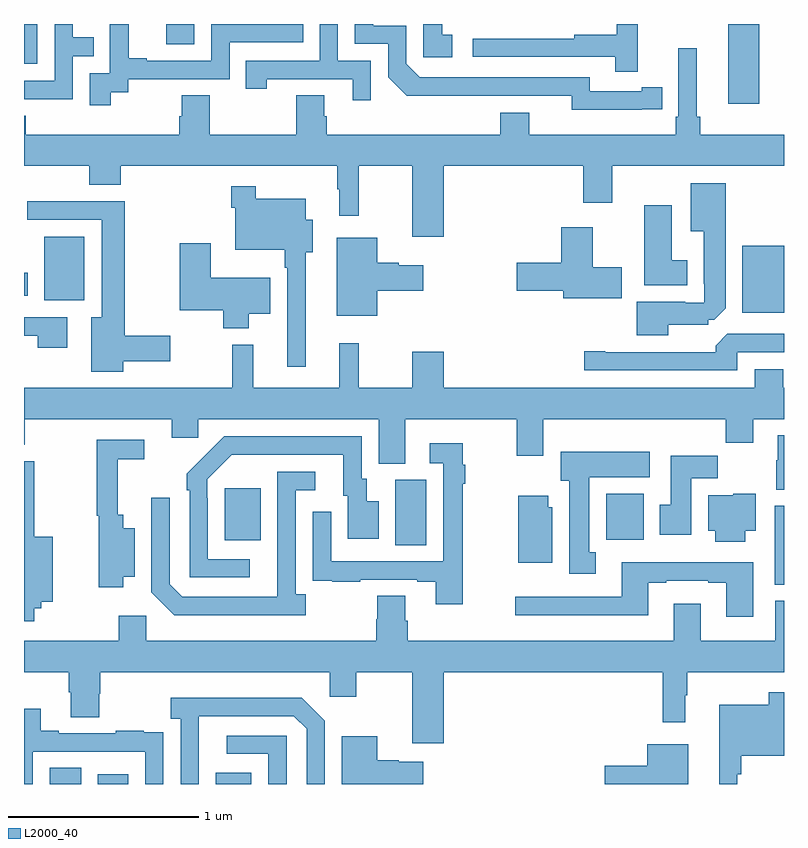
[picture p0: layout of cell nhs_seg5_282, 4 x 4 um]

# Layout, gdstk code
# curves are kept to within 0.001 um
import gdstk
lib = gdstk.Library(unit=1e-6, precision=1e-09)
def R(c, l, rs):  # rectangles x0, y0, x1, y1
    for r in rs: c.add(gdstk.rectangle(r[:2], r[2:], *l))
def P(c, l, *ps):  # polygons
    for p in ps: c.add(gdstk.Polygon(p, *l))
L2000_40 = (2000, 40)

nhs_seg5_282 = lib.new_cell('nhs_seg5_282')
R(nhs_seg5_282, L2000_40, [(127.136,894.799,127.3,894.884), (127.388,894.799,127.549,894.85), (128.009,894.799,128.197,894.859), (130.952,895.849,131,896.264), (128.954,896.056,129.118,896.4), (128.057,896.081,128.245,896.356), (130.064,896.084,130.261,896.326), (130.781,897.278,131,897.631), (127.106,897.344,127.318,897.679), (127,897.368,127.021,897.49), (130.706,898.38,130.87,898.799), (127,898.59,127.071,898.799), (127.749,898.692,127.896,898.799)])
P(nhs_seg5_282, L2000_40, [(128.826,898.605),(128.652,898.605),(128.652,898.799),(128.556,898.799),(128.556,898.605),(128.167,898.605),(128.167,898.458),(128.278,898.458),(128.278,898.509),(128.729,898.509),(128.729,898.398),(128.826,898.398)],
  [(127.456,898.441),(127.548,898.441),(127.548,898.509),(128.082,898.509),(128.082,898.704),(128.471,898.704),(128.471,898.799),(127.986,898.799),(127.986,898.605),(127.645,898.605),(127.645,898.618),(127.55,898.618),(127.55,898.799),(127.451,898.799),(127.451,898.769),(127.452,898.769),(127.452,898.539),(127.347,898.539),(127.347,898.371),(127.456,898.371)],
  [(130.229,898.799),(130.119,898.799),(130.119,898.742),(129.895,898.742),(129.895,898.722),(129.363,898.722),(129.363,898.626),(130.111,898.626),(130.111,898.548),(130.229,898.548)],
  [(130.25,898.35),(130.358,898.35),(130.358,898.466),(130.25,898.466),(130.25,898.446),(129.978,898.446),(129.978,898.518),(129.084,898.518),(129.012,898.59),(129.012,898.791),(128.839,898.791),(128.839,898.799),(128.742,898.799),(128.742,898.695),(128.916,898.695),(128.916,898.518),(129.014,898.421),(129.882,898.422),(129.882,898.349)],
  [(129.253,898.743),(129.2,898.743),(129.2,898.799),(129.102,898.799),(129.102,898.623),(129.253,898.623)],
  [(127.257,898.629),(127.367,898.629),(127.367,898.73),(127.257,898.73),(127.257,898.799),(127.161,898.799),(127.161,898.5),(127,898.5),(127,898.404),(127.257,898.404)],
  [(130.443,898.672),(130.443,898.312),(130.43,898.312),(130.43,898.216),(129.658,898.216),(129.658,898.333),(129.506,898.333),(129.506,898.216),(128.594,898.216),(128.594,898.314),(128.581,898.314),(128.581,898.424),(128.434,898.424),(128.434,898.216),(127.977,898.216),(127.977,898.424),(127.829,898.424),(127.829,898.314),(127.817,898.314),(127.817,898.216),(127.01,898.216),(127.01,898.315),(127,898.315),(127,898.052),(127.343,898.052),(127.343,897.953),(127.508,897.953),(127.508,898.052),(128.649,898.052),(128.649,897.929),(128.66,897.929),(128.66,897.789),(128.762,897.789),(128.762,898.052),(129.044,898.052),(129.044,897.678),(129.208,897.678),(129.208,898.052),(129.944,898.052),(129.944,897.858),(130.096,897.858),(130.096,898.052),(131,898.052),(131,898.216),(130.559,898.216),(130.559,898.312),(130.54,898.312),(130.54,898.672)],
  [(130.39,897.215),(130.602,897.215),(130.602,897.243),(130.633,897.243),(130.693,897.303),(130.693,897.961),(130.508,897.961),(130.508,897.707),(130.577,897.707),(130.577,897.433),(130.581,897.433),(130.581,897.333),(130.481,897.333),(130.481,897.337),(130.226,897.337),(130.226,897.161),(130.39,897.161)],
  [(128.482,897.599),(128.521,897.599),(128.521,897.769),(128.482,897.769),(128.482,897.88),(128.221,897.88),(128.221,897.946),(128.092,897.946),(128.092,897.833),(128.112,897.833),(128.112,897.611),(128.373,897.611),(128.373,897.515),(128.385,897.515),(128.385,896.994),(128.482,896.994)],
  [(127.522,897.023),(127.771,897.023),(127.771,897.158),(127.53,897.158),(127.53,897.866),(127.017,897.866),(127.017,897.768),(127.409,897.768),(127.409,897.256),(127.355,897.256),(127.355,896.97),(127.522,896.97)],
  [(130.492,897.556),(130.408,897.556),(130.408,897.844),(130.265,897.844),(130.265,897.425),(130.492,897.425)],
  [(130.147,897.519),(129.994,897.519),(129.994,897.73),(129.827,897.73),(129.827,897.542),(129.594,897.542),(129.594,897.395),(129.839,897.395),(129.839,897.356),(130.147,897.356)],
  [(128.86,897.395),(129.102,897.395),(129.102,897.529),(128.973,897.529),(128.973,897.542),(128.86,897.542),(128.86,897.673),(128.645,897.673),(128.645,897.263),(128.86,897.263)],
  [(128.182,897.275),(128.296,897.275),(128.296,897.463),(127.984,897.463),(127.984,897.646),(127.819,897.646),(127.819,897.293),(128.048,897.293),(128.048,897.197),(128.182,897.197)],
  [(127.228,897.255),(127,897.255),(127,897.159),(127.072,897.159),(127.072,897.096),(127.228,897.096)],
  [(130.755,897.072),(131,897.072),(131,897.168),(130.701,897.168),(130.64,897.106),(130.64,897.072),(130.06,897.072),(130.06,897.077),(129.948,897.077),(129.948,896.976),(130.755,896.976)],
  [(129.007,896.72),(129.593,896.72),(129.593,896.526),(129.733,896.526),(129.733,896.72),(130.693,896.72),(130.693,896.596),(130.837,896.596),(130.837,896.72),(131,896.72),(131,896.884),(130.995,896.884),(130.995,896.983),(130.847,896.983),(130.847,896.884),(129.208,896.884),(129.208,897.073),(129.044,897.073),(129.044,896.884),(128.762,896.884),(128.762,897.118),(128.66,897.118),(128.66,896.884),(128.207,896.884),(128.207,897.112),(128.097,897.112),(128.097,896.884),(127,896.884),(127,896.584),(127.005,896.584),(127.005,896.72),(127.778,896.72),(127.778,896.622),(127.917,896.622),(127.917,896.72),(128.867,896.72),(128.867,896.485),(129.007,896.485)],
  [(131,896.635),(130.967,896.635),(130.967,896.504),(130.96,896.504),(130.96,896.349),(131,896.349)],
  [(128.188,895.983),(127.968,895.983),(127.968,896.303),(127.965,896.303),(127.965,896.403),(128.094,896.532),(128.681,896.532),(128.681,896.316),(128.705,896.316),(128.705,896.091),(128.866,896.091),(128.866,896.287),(128.803,896.287),(128.803,896.406),(128.778,896.406),(128.778,896.628),(128.054,896.628),(127.857,896.433),(127.857,896.345),(127.872,896.345),(127.872,895.887),(128.188,895.887)],
  [(127.522,895.889),(127.582,895.889),(127.582,896.146),(127.522,896.146),(127.522,896.215),(127.493,896.215),(127.493,896.509),(127.633,896.509),(127.633,896.61),(127.383,896.61),(127.383,896.211),(127.394,896.211),(127.394,895.835),(127.522,895.835)],
  [(129.308,896.38),(129.323,896.38),(129.323,896.48),(129.308,896.48),(129.308,896.593),(129.135,896.593),(129.135,896.487),(129.207,896.487),(129.207,895.971),(128.616,895.971),(128.616,896.233),(128.52,896.233),(128.52,895.978),(128.521,895.978),(128.521,895.869),(128.623,895.869),(128.623,895.863),(128.771,895.863),(128.771,895.875),(129.071,895.875),(129.071,895.863),(129.167,895.863),(129.167,895.746),(129.308,895.746)],
  [(130.009,896.018),(129.976,896.018),(129.976,896.414),(130.294,896.414),(130.294,896.548),(129.824,896.548),(129.824,896.394),(129.869,896.394),(129.869,895.905),(130.009,895.905)],
  [(130.513,896.408),(130.652,896.408),(130.652,896.527),(130.403,896.527),(130.403,896.268),(130.346,896.268),(130.346,896.112),(130.513,896.112)],
  [(127.054,895.724),(127.091,895.724),(127.091,895.757),(127.15,895.757),(127.15,896.101),(127.054,896.101),(127.054,896.499),(127,896.499),(127,895.656),(127.054,895.656)],
  [(128.482,895.798),(128.43,895.798),(128.43,896.346),(128.533,896.346),(128.533,896.442),(128.334,896.442),(128.333,895.785),(127.833,895.785),(127.767,895.851),(127.767,896.305),(127.671,896.305),(127.671,895.809),(127.792,895.688),(128.482,895.688)],
  [(130.795,896.132),(130.852,896.132),(130.852,896.326),(130.734,896.326),(130.734,896.32),(130.601,896.32),(130.601,896.132),(130.637,896.132),(130.637,896.075),(130.795,896.075)],
  [(129.781,896.256),(129.76,896.256),(129.76,896.317),(129.602,896.317),(129.602,895.964),(129.781,895.964)],
  [(130.837,895.966),(130.145,895.966),(130.145,895.785),(129.585,895.785),(129.585,895.688),(130.285,895.688),(130.285,895.857),(130.381,895.857),(130.381,895.869),(130.601,895.869),(130.601,895.857),(130.697,895.857),(130.697,895.68),(130.837,895.68)],
  [(129.208,895.388),(130.363,895.388),(130.363,895.125),(130.48,895.125),(130.48,895.265),(130.492,895.265),(130.492,895.388),(131,895.388),(131,895.764),(130.955,895.764),(130.955,895.552),(130.561,895.552),(130.561,895.747),(130.421,895.747),(130.421,895.552),(129.02,895.552),(129.02,895.658),(129.007,895.658),(129.007,895.79),(128.86,895.79),(128.86,895.665),(128.855,895.665),(128.855,895.552),(127.644,895.552),(127.644,895.684),(127.498,895.684),(127.498,895.552),(127,895.552),(127,895.388),(127.235,895.388),(127.235,895.282),(127.247,895.282),(127.247,895.15),(127.395,895.15),(127.395,895.275),(127.4,895.275),(127.4,895.388),(128.61,895.388),(128.61,895.257),(128.749,895.257),(128.749,895.388),(129.044,895.388),(129.044,895.014),(129.208,895.014)],
  [(130.755,894.851),(130.775,894.851),(130.775,894.947),(131,894.947),(131,895.282),(130.92,895.282),(130.92,895.216),(130.658,895.216),(130.658,894.799),(130.755,894.799)],
  [(127.92,894.955),(127.921,895.155),(128.421,895.155),(128.487,895.089),(128.487,894.799),(128.583,894.799),(128.583,895.131),(128.462,895.252),(127.773,895.252),(127.773,895.142),(127.824,895.142),(127.824,894.799),(127.92,894.799)],
  [(127.047,894.969),(127.638,894.969),(127.638,894.799),(127.734,894.799),(127.734,894.962),(127.733,894.962),(127.733,895.071),(127.631,895.071),(127.631,895.078),(127.483,895.078),(127.483,895.065),(127.183,895.065),(127.183,895.078),(127.087,895.078),(127.087,895.195),(127,895.195),(127,894.799),(127.047,894.799)],
  [(128.382,895.053),(128.067,895.053),(128.067,894.957),(128.286,894.957),(128.286,894.799),(128.382,894.799)],
  [(129.102,894.916),(128.973,894.916),(128.973,894.924),(128.86,894.924),(128.86,895.051),(128.672,895.051),(128.672,894.799),(129.102,894.799)],
  [(130.495,895.009),(130.28,895.009),(130.28,894.896),(130.056,894.896),(130.056,894.799),(130.495,894.799)])

lib.write_gds('nhs_seg5_282.gds')
